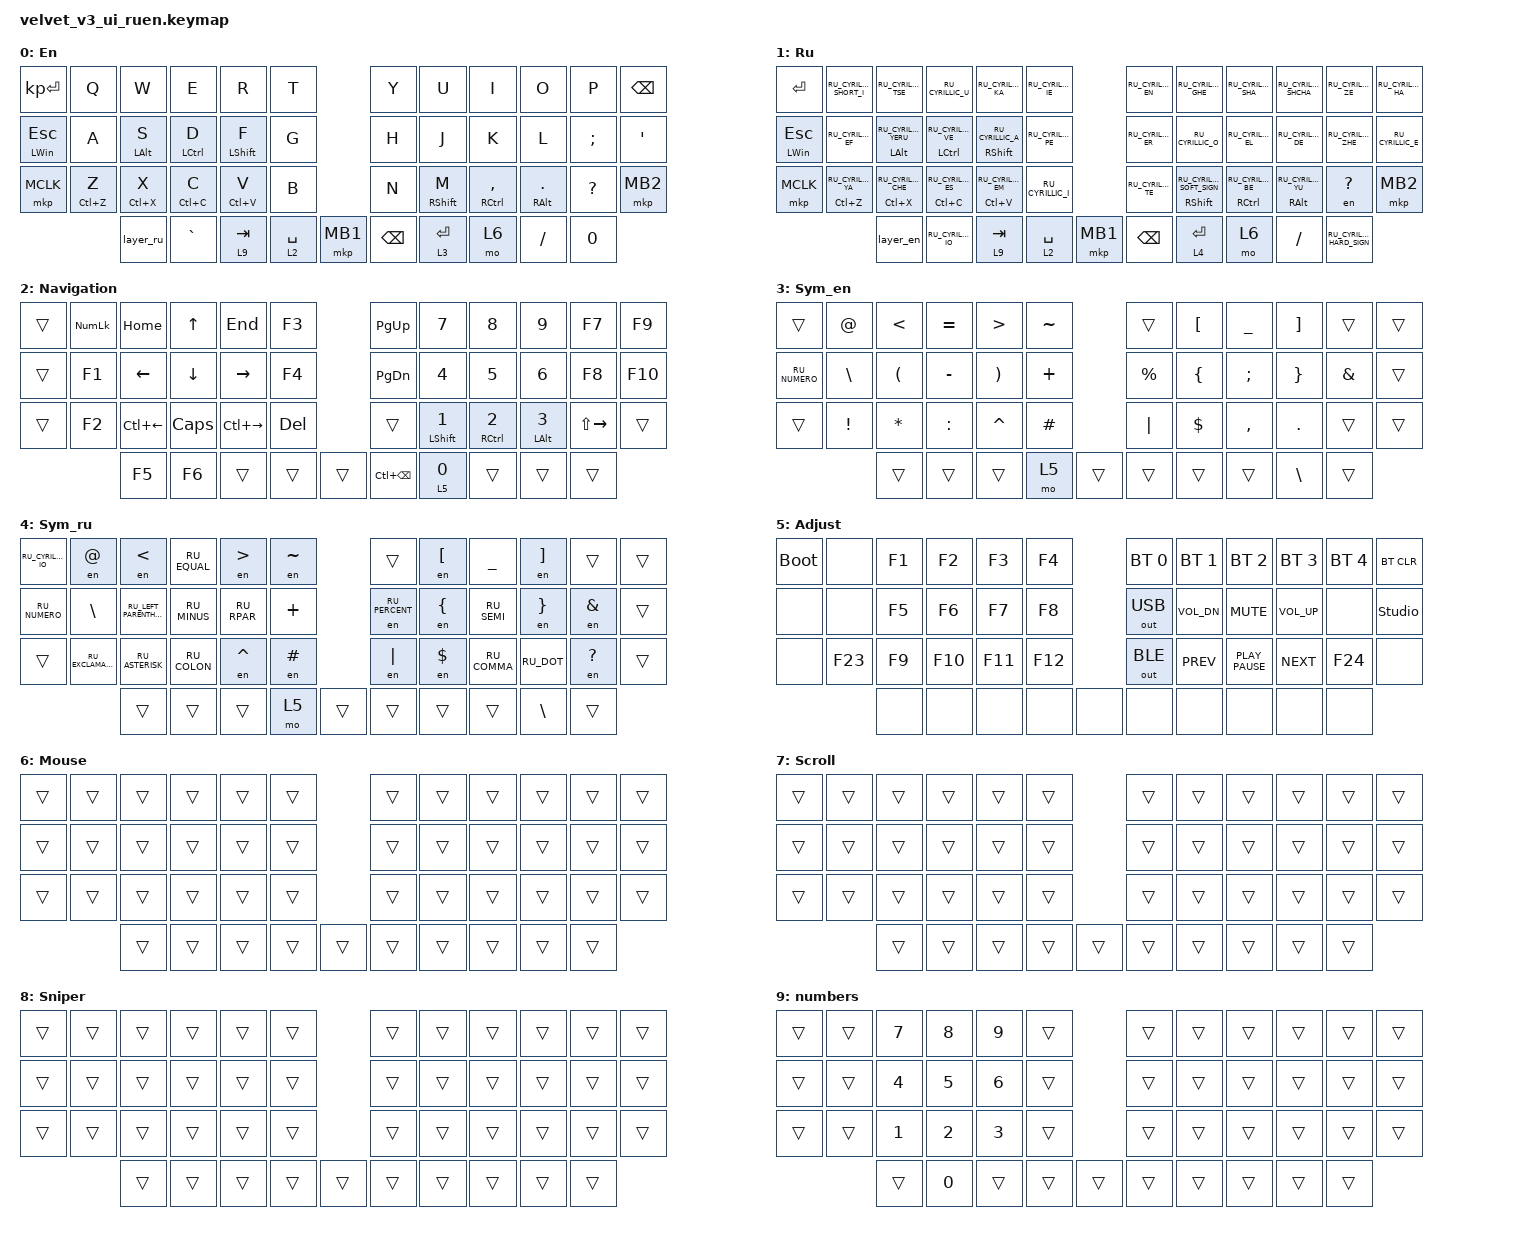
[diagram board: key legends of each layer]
#include "keys_ru.h"
#include <dt-bindings/zmk/input_transform.h>
#include <input/processors.dtsi>
#include <zephyr/dt-bindings/input/input-event-codes.h>
#include <behaviors.dtsi>
#include <dt-bindings/zmk/bt.h>
#include <dt-bindings/zmk/keys.h>
#include <dt-bindings/zmk/outputs.h>
#include <dt-bindings/zmk/pointing.h>

/ {
    behaviors {
        cap_sen: cap_sen {
            compatible = "zmk,behavior-hold-tap";
            label = "CAP_SEN";
            bindings = <&mo>, <&mkp>;

            #binding-cells = <2>;
            tapping-term-ms = <100>;
            hold-while-undecided;
        };

        mdq: mdq {
            compatible = "zmk,behavior-hold-tap";
            label = "MDQ";
            bindings = <&kp>, <&kp>;

            #binding-cells = <2>;
            tapping-term-ms = <165>;
            flavor = "tap-preferred";
        };
    };

    combos {
        compatible = "zmk,combos";

        cmben {
            bindings = <&layer_en>;
            key-positions = <3 4>;
            layers = <1>;
        };

        cmbru {
            bindings = <&layer_ru>;
            key-positions = <3 4>;
            layers = <0>;
        };
    };

    macros {
        to_ru: to_ru {
            compatible = "zmk,behavior-macro";
            #binding-cells = <0>;
            bindings = <&kp LS(LA(N2))>;
            label = "TO_RU";
        };

        to_en: to_en {
            compatible = "zmk,behavior-macro";
            #binding-cells = <0>;
            bindings = <&kp LS(LA(N1))>;
            label = "TO_EN";
        };

        layer_en: layer_en {
            compatible = "zmk,behavior-macro";
            #binding-cells = <0>;
            bindings = <&to 0 &to_en>;
            label = "LAYER_EN";
        };

        layer_ru: layer_ru {
            compatible = "zmk,behavior-macro";
            #binding-cells = <0>;
            bindings = <&to 1 &to_ru>;
            label = "LAYER_RU";
        };

        en: en {
            compatible = "zmk,behavior-macro-one-param";
            #binding-cells = <1>;
            bindings =
                <&to_en &macro_param_1to1 &kp MACRO_PLACEHOLDER>,
                <&macro_wait_time 10>,
                <&to_ru>,
                <&macro_wait_time 10>;

            label = "EN";
        };
    };

    keymap {
        compatible = "zmk,keymap";

        en {
            bindings = <
&kp KP_ENTER       &kp Q         &kp W            &kp E         &kp R              &kp T                                   &kp Y        &kp U               &kp I             &kp O               &kp P         &kp BSPC
&mdq LEFT_WIN ESC  &kp A         &mdq LEFT_ALT S  &mdq LCTRL D  &mdq LEFT_SHIFT F  &kp G                                   &kp H        &kp J               &kp K             &kp L               &kp SEMI      &kp APOS
&mkp MCLK          &mdq LC(Z) Z  &mdq LC(X) X     &mdq LC(C) C  &mdq LC(V) V       &kp B                                   &kp N        &mdq RIGHT_SHIFT M  &mdq RCTRL COMMA  &mdq RIGHT_ALT DOT  &kp QUESTION  &mkp MB2
                                 &layer_ru        &kp GRAVE     &lt 9 TAB          &lt 2 SPACE  &mkp MB1    &kp BACKSPACE  &lt 3 ENTER  &mo 6               &kp FSLH          &kp N0
            >;

            display-name = "En";
        };

        ru {
            display-name = "Ru";
            bindings = <
&kp ENTER          &kp RU_CYRILLIC_SHORT_I    &kp RU_CYRILLIC_TSE             &kp RU_CYRILLIC_U          &kp RU_CYRILLIC_KA              &kp RU_CYRILLIC_IE                             &kp RU_CYRILLIC_EN  &kp RU_CYRILLIC_GHE                     &kp RU_CYRILLIC_SHA        &kp RU_CYRILLIC_SHCHA          &kp RU_CYRILLIC_ZE   &kp RU_CYRILLIC_HA
&mdq LEFT_WIN ESC  &kp RU_CYRILLIC_EF         &mdq LEFT_ALT RU_CYRILLIC_YERU  &mdq LCTRL RU_CYRILLIC_VE  &mdq RIGHT_SHIFT RU_CYRILLIC_A  &kp RU_CYRILLIC_PE                             &kp RU_CYRILLIC_ER  &kp RU_CYRILLIC_O                       &kp RU_CYRILLIC_EL         &kp RU_CYRILLIC_DE             &kp RU_CYRILLIC_ZHE  &kp RU_CYRILLIC_E
&mkp MCLK          &mdq LC(Z) RU_CYRILLIC_YA  &mdq LC(X) RU_CYRILLIC_CHE      &mdq LC(C) RU_CYRILLIC_ES  &mdq LC(V) RU_CYRILLIC_EM       &kp RU_CYRILLIC_I                              &kp RU_CYRILLIC_TE  &mdq RIGHT_SHIFT RU_CYRILLIC_SOFT_SIGN  &mdq RCTRL RU_CYRILLIC_BE  &mdq RIGHT_ALT RU_CYRILLIC_YU  &en QMARK            &mkp MB2
                                              &layer_en                       &kp RU_CYRILLIC_IO         &lt 9 TAB                       &lt 2 SPACE         &mkp MB1    &kp BACKSPACE  &lt 4 ENTER         &mo 6                                   &kp SLASH                  &kp RU_CYRILLIC_HARD_SIGN
            >;
        };

        nav {
            bindings = <
&trans  &kp KP_NUMLOCK  &kp HOME            &kp UP_ARROW    &kp END              &kp F3                                   &kp PAGE_UP    &kp N7              &kp N8         &kp N9            &kp F7         &kp F9
&trans  &kp F1          &kp LEFT_ARROW      &kp DOWN_ARROW  &kp RIGHT_ARROW      &kp F4                                   &kp PAGE_DOWN  &kp N4              &kp N5         &kp N6            &kp F8         &kp F10
&trans  &kp F2          &kp LC(LEFT_ARROW)  &kp CAPS        &kp LC(RIGHT_ARROW)  &kp DELETE                               &trans         &mdq LEFT_SHIFT N1  &mdq RCTRL N2  &mdq LEFT_ALT N3  &kp LS(RIGHT)  &trans
                        &kp F5              &kp F6          &trans               &trans      &trans    &kp LC(BACKSPACE)  &lt 5 N0       &trans              &trans         &trans
            >;

            display-name = "Navigation";
        };

        sym_en {
            bindings = <
&trans         &kp AT_SIGN  &kp LT    &kp EQUAL  &kp GT     &kp TILDE                    &trans     &kp LEFT_BRACKET  &kp UNDER      &kp RIGHT_BRACKET  &trans         &trans
&kp RU_NUMERO  &kp BSLH     &kp LPAR  &kp MINUS  &kp RPAR   &kp PLUS                     &kp PRCNT  &kp LBRC          &kp SEMI       &kp RBRC           &kp AMPERSAND  &trans
&trans         &kp EXCL     &kp STAR  &kp COLON  &kp CARET  &kp HASH                     &kp PIPE   &kp DOLLAR        &kp COMMA      &kp DOT            &trans         &trans
                            &trans    &trans     &trans     &mo 5      &trans    &trans  &trans     &trans            &kp BACKSLASH  &trans
            >;

            display-name = "Sym_en";
        };

        sym_ru {
            display-name = "Sym_ru";
            bindings = <
&kp RU_CYRILLIC_IO  &en AT              &en LESS_THAN            &kp RU_EQUAL  &en GREATER_THAN  &en TILDE                    &trans          &en LEFT_BRACKET  &kp UNDER      &en RIGHT_BRACKET  &trans         &trans
&kp RU_NUMERO       &kp BSLH            &kp RU_LEFT_PARENTHESIS  &kp RU_MINUS  &kp RU_RPAR       &kp PLUS                     &en RU_PERCENT  &en LEFT_BRACE    &kp RU_SEMI    &en RIGHT_BRACE    &en AMPERSAND  &trans
&trans              &kp RU_EXCLAMATION  &kp RU_ASTERISK          &kp RU_COLON  &en CARET         &en POUND                    &en PIPE        &en DLLR          &kp RU_COMMA   &kp RU_DOT         &en QMARK      &trans
                                        &trans                   &trans        &trans            &mo 5      &trans    &trans  &trans          &trans            &kp BACKSLASH  &trans
            >;
        };

        adj {
            bindings = <
&bootloader  &none    &kp F1  &kp F2   &kp F3   &kp F4                   &bt BT_SEL 0  &bt BT_SEL 1  &bt BT_SEL 2      &bt BT_SEL 3  &bt BT_SEL 4  &bt BT_CLR
&none        &none    &kp F5  &kp F6   &kp F7   &kp F8                   &out OUT_USB  &kp C_VOL_DN  &kp K_MUTE        &kp C_VOL_UP  &none         &studio_unlock
&none        &kp F23  &kp F9  &kp F10  &kp F11  &kp F12                  &out OUT_BLE  &kp K_PREV    &kp K_PLAY_PAUSE  &kp K_NEXT    &kp F24       &none
                      &none   &none    &none    &none    &none    &none  &none         &none         &none             &none
            >;

            display-name = "Adjust";
        };

        mouse {
            bindings = <
&trans  &trans  &trans  &trans  &trans  &trans                    &trans  &trans  &trans  &trans  &trans  &trans
&trans  &trans  &trans  &trans  &trans  &trans                    &trans  &trans  &trans  &trans  &trans  &trans
&trans  &trans  &trans  &trans  &trans  &trans                    &trans  &trans  &trans  &trans  &trans  &trans
                &trans  &trans  &trans  &trans  &trans    &trans  &trans  &trans  &trans  &trans
            >;

            display-name = "Mouse";
        };

        scroll {
            bindings = <
&trans  &trans  &trans  &trans  &trans  &trans                    &trans  &trans  &trans  &trans  &trans  &trans
&trans  &trans  &trans  &trans  &trans  &trans                    &trans  &trans  &trans  &trans  &trans  &trans
&trans  &trans  &trans  &trans  &trans  &trans                    &trans  &trans  &trans  &trans  &trans  &trans
                &trans  &trans  &trans  &trans  &trans    &trans  &trans  &trans  &trans  &trans
            >;

            display-name = "Scroll";
        };

        sniper {
            bindings = <
&trans  &trans  &trans  &trans  &trans  &trans                    &trans  &trans  &trans  &trans  &trans  &trans
&trans  &trans  &trans  &trans  &trans  &trans                    &trans  &trans  &trans  &trans  &trans  &trans
&trans  &trans  &trans  &trans  &trans  &trans                    &trans  &trans  &trans  &trans  &trans  &trans
                &trans  &trans  &trans  &trans  &trans    &trans  &trans  &trans  &trans  &trans
            >;

            display-name = "Sniper";
        };

        numbers {
            bindings = <
&trans  &trans  &kp N7  &kp N8  &kp N9  &trans                    &trans  &trans  &trans  &trans  &trans  &trans
&trans  &trans  &kp N4  &kp N5  &kp N6  &trans                    &trans  &trans  &trans  &trans  &trans  &trans
&trans  &trans  &kp N1  &kp N2  &kp N3  &trans                    &trans  &trans  &trans  &trans  &trans  &trans
                &trans  &kp N0  &trans  &trans  &trans    &trans  &trans  &trans  &trans  &trans
            >;
        };
    };
};

&trackball { cpi = <1000>; };

&trackball_listener {
    input-processors = <&zip_xy_scaler 9 20>;

    scroller {
        layers = <7>;
        input-processors =
            <&zip_xy_transform INPUT_TRANSFORM_Y_INVERT>,
            <&zip_xy_scaler 1 32>,
            <&zip_xy_to_scroll_mapper>;
    };

    sniper {
        layers = <8>;
        input-processors = <&zip_xy_scaler 1 4>;
    };
};
